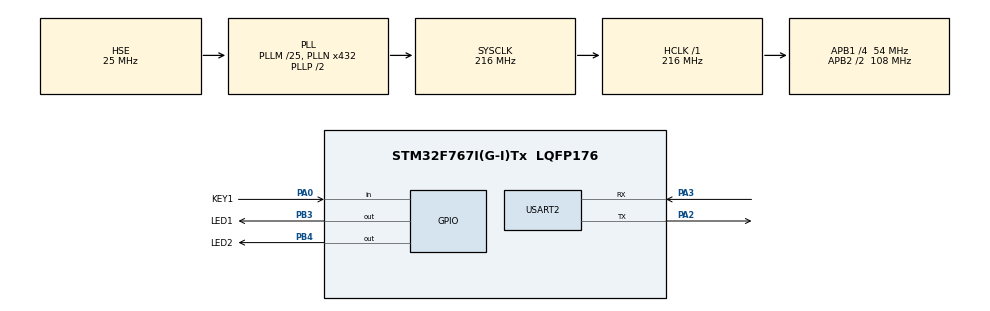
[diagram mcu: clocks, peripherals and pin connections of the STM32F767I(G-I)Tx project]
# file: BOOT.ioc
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CORTEX_M7.default_mode_Activation=0
Mcu.Family=STM32F7
Mcu.Name=STM32F767I(G-I)Tx
Mcu.Package=LQFP176
NVIC.PriorityGroup=NVIC_PRIORITYGROUP_4
NVIC.USART2_IRQn=true\:0\:0\:false\:false\:true\:true\:true\:true
PA0/WKUP.GPIO_Label=KEY1
PA0/WKUP.GPIO_PuPd=GPIO_PULLDOWN
PA0/WKUP.Signal=GPIO_Input
PA13.Mode=Serial_Wire
PA13.Signal=SYS_JTMS-SWDIO
PA14.Mode=Serial_Wire
PA14.Signal=SYS_JTCK-SWCLK
PA2.Mode=Asynchronous
PA2.Signal=USART2_TX
PA3.Mode=Asynchronous
PA3.Signal=USART2_RX
PB3.GPIO_Label=LED1
PB3.GPIO_PuPd=GPIO_NOPULL
PB3.PinState=GPIO_PIN_SET
PB3.Signal=GPIO_Output
PB4.GPIO_Label=LED2
PB4.GPIO_PuPd=GPIO_NOPULL
PB4.PinState=GPIO_PIN_SET
PB4.Signal=GPIO_Output
PH0/OSC_IN.Mode=HSE-External-Oscillator
PH0/OSC_IN.Signal=RCC_OSC_IN
PH1/OSC_OUT.Mode=HSE-External-Oscillator
PH1/OSC_OUT.Signal=RCC_OSC_OUT
ProjectManager.HeapSize=0x800
ProjectManager.StackSize=0x800
ProjectManager.TargetToolchain=CMake
RCC.AHBFreq_Value=216000000
RCC.APB1CLKDivider=RCC_HCLK_DIV4
RCC.APB1Freq_Value=54000000
RCC.APB1TimFreq_Value=108000000
RCC.APB2CLKDivider=RCC_HCLK_DIV2
RCC.APB2Freq_Value=108000000
RCC.APB2TimFreq_Value=216000000
RCC.CortexFreq_Value=216000000
RCC.HCLKFreq_Value=216000000
RCC.HSE_VALUE=25000000
RCC.HSI_VALUE=16000000
RCC.LSE_VALUE=32768
RCC.PLLM=25
RCC.PLLN=432
RCC.PLLSourceVirtual=RCC_PLLSOURCE_HSE
RCC.SYSCLKFreq_VALUE=216000000
RCC.SYSCLKSource=RCC_SYSCLKSOURCE_PLLCLK
RCC.USBFreq_Value=216000000
RCC.VCOOutputFreq_Value=432000000
USART2.VirtualMode-Asynchronous=VM_ASYNC
board=custom

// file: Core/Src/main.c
/* USER CODE BEGIN Header */
/**
  ******************************************************************************
  * @file           : main.c
  * @brief          : Main program body - Bootloader with YModem
  * @author         : YanZQ-gif
  * @date           : 2026-04-16
  * @version        : V1.1.0 - Bootloader with UPDATE command
  ******************************************************************************
  */
/* USER CODE END Header */
#include "main.h"
#include "usart.h"
#include "gpio.h"

/* USER CODE BEGIN Includes */
#include "ymodem.h"
#include "led.h"
#include "key.h"
#include "printf.h"
#include "flash.h"
#include <string.h>
/* USER CODE END Includes */

/* USER CODE BEGIN PD */

/* 升级命令 */
#define UPDATE_CMD        "UPDATE"
#define UPDATE_CMD_LEN    6
#define BOOT_WINDOW_TIME  1000    /* 1 秒窗口期 */

/* USER CODE END PD */

/* USER CODE BEGIN PV */
/* 全局变量 */
static uint8_t rx_byte;
static uint8_t tx_buffer[16];
static uint8_t tx_len;
static YMODEM_T ym_ret;
static uint8_t bIsBootloader = 0;
static uint8_t update_cmd_buffer[UPDATE_CMD_LEN];
static uint8_t update_cmd_index = 0;
/* USER CODE END PV */

void SystemClock_Config(void);

int main(void)
{

  /* MCU Configuration--------------------------------------------------------*/

  /* Reset of all peripherals, Initializes the Flash interface and the Systick. */
  HAL_Init();

  /* Configure the system clock */
  SystemClock_Config();

  /* Initialize all configured peripherals */
  MX_GPIO_Init();
  MX_USART2_UART_Init();
  /* USER CODE BEGIN 2 */

  /* 初始化 Printf 模块 */
  Printf_Init();

  /* 初始化 LED 模块 */
  LED_Init();

  /* 初始化 KEY 模块 */
  KEY_Init();

  /* 上电指示 */
  LED_Blink(LED1, 3, 100);

  printf("\r\n");
  printf("========================================\r\n");
  printf("  STM32F767 Bootloader\r\n");
  printf("  Version: V1.1.0\r\n");
  printf("========================================\r\n");
  printf("[BOOT] 系统初始化完成\r\n");
  printf("[BOOT] 等待升级指令窗口期：%dms\r\n", BOOT_WINDOW_TIME);
  printf("[BOOT] 请输入 'UPDATE' 命令进入升级模式\r\n");
  printf("========================================\r\n\r\n");

  /* 等待升级指令窗口期 */
  uint32_t window_start = HAL_GetTick();
  uint8_t cmd_received = 0;

  while ((HAL_GetTick() - window_start) < BOOT_WINDOW_TIME) {
      if (HAL_UART_Receive(&huart2, &rx_byte, 1, 10) == HAL_OK) {
          /* 接收字符并匹配命令 */
          update_cmd_buffer[update_cmd_index++] = rx_byte;

          /* 检查是否匹配 UPDATE 命令 */
          if (update_cmd_index >= UPDATE_CMD_LEN) {
              if (memcmp(update_cmd_buffer, UPDATE_CMD, UPDATE_CMD_LEN) == 0) {
                  cmd_received = 1;
                  printf("[BOOT] 收到升级命令：UPDATE\r\n");
                  break;
              }

              /* 重置索引，继续匹配 */
              update_cmd_index = 0;
          }
      }
  }

  /* 检查是否收到升级命令 */
  if (cmd_received) {
      /* 进入 Bootloader 模式 */
      bIsBootloader = 1;
      printf("[BOOT] 收到升级命令：UPDATE\r\n");
      printf("[BOOT] 持续发送 'C' 等待上位机连接...\r\n\r\n");
      LED_Blink(LED1, 5, 200);
  } else {
      /* 窗口期结束，未收到升级命令 */
      printf("[BOOT] 窗口期结束，未收到升级命令\r\n");

      /* 检查 APP 是否有效 */
      if (!BOOT_VerifyAppFirmware()) {
          printf("[BOOT] APP 验证通过，准备跳转...\r\n");
          LED_Blink(LED2, 2, 500);
          HAL_Delay(500);
          BOOT_JumpToApp();
      } else {
          printf("[BOOT] APP 无效，进入升级模式\r\n");
          bIsBootloader = 1;
          LED_Blink(LED1, 5, 200);
      }
  }

  /* USER CODE END 2 */

  /* Infinite loop */
  /* USER CODE BEGIN WHILE */
  if (bIsBootloader) {
      /* 进入 YModem 升级模式 */

      /* 初始化 YModem */
      YMODEM_Init();

      /* 持续发送 'C' 等待上位机响应 */
      uint32_t wait_start = HAL_GetTick();
      uint8_t pc_connected = 0;

      printf("[IAP] 持续发送 'C' 等待上位机连接...\r\n");

      /* 等待上位机响应，最多等待 10 秒 */
      while ((HAL_GetTick() - wait_start) < 10000) {
          /* 持续发送 'C' */
          HAL_UART_Transmit(&huart2, (uint8_t*)"C", 1, 100);
          HAL_Delay(100);  /* 每 100ms 发送一次 */

          /* 检查是否收到上位机响应 */
          if (HAL_UART_Receive(&huart2, &rx_byte, 1, 10) == HAL_OK) {
              /* 收到数据，说明上位机已连接 */
              pc_connected = 1;
              printf("[IAP] 上位机已连接，开始升级...\r\n\r\n");
              break;
          }
      }

      if (!pc_connected) {
          printf("[IAP] 等待超时，未检测到上位机\r\n");
          printf("[IAP] 系统将在 2 秒后重启...\r\n");
          HAL_Delay(2000);
          NVIC_SystemReset();
      }

      /* 主循环 - 接收 YModem 数据 */
      while (1) {
          /* 等待 UART 数据 */
          if (HAL_UART_Receive(&huart2, &rx_byte, 1, 100) == HAL_OK) {
              /* 处理接收到的字节 */
              ym_ret = YMODEM_ReceiveByte(rx_byte, tx_buffer, &tx_len);

              switch (ym_ret) {
                  case YMODEM_OK:
                      /* 继续接收 */
                      break;

                  case YMODEM_TX_PENDING:
                      /* 需要发送响应 */
                      if (tx_len > 0) {
                          HAL_UART_Transmit(&huart2, tx_buffer, tx_len, 1000);
                      }
                      break;

                  case YMODEM_COMPLETE:
                      /* 升级完成 */
                      printf("\r\n");
                      printf("========================================\r\n");
                      printf("  [IAP] ✓ 固件升级完成！\r\n");
                      printf("  [IAP] 系统将在 2 秒后重启...\r\n");
                      printf("========================================\r\n");

                      /* 设置启动标志 */
                      BOOT_SetFlag(BOOT_FLAG_APP);

                      /* 延时后重启 */
                      HAL_Delay(2000);
                      NVIC_SystemReset();
                      break;

                  case YMODEM_ABORTED:
                      /* 升级被取消 */
                      printf("\r\n[IAP] ⚠ 升级被取消\r\n");
                      break;

                  case YMODEM_WRITE_ERR:
                      /* Flash 写入错误 */
                      printf("\r\n[IAP] ❌ Flash 写入错误！\r\n");
                      break;

                  case YMODEM_SIZE_ERR:
                      /* 文件过大 */
                      printf("\r\n[IAP] ❌ 固件文件过大！\r\n");
                      break;

                  default:
                      break;
              }
          }
      }
  }

  while (1)
  {
      /* 正常情况下不会到这里 */
      LED_Blink(LED1, 1, 1000);  // 错误指示
  }
    /* USER CODE END WHILE */

}

void SystemClock_Config(void)
{
  RCC_OscInitTypeDef RCC_OscInitStruct = {0};
  RCC_ClkInitTypeDef RCC_ClkInitStruct = {0};

  /** Configure the main internal regulator output voltage
  */
  __HAL_RCC_PWR_CLK_ENABLE();
  __HAL_PWR_VOLTAGESCALING_CONFIG(PWR_REGULATOR_VOLTAGE_SCALE1);

  /** Initializes the RCC Oscillators according to the specified parameters
  * in the RCC_OscInitTypeDef structure.
  */
  RCC_OscInitStruct.OscillatorType = RCC_OSCILLATORTYPE_HSE;
  RCC_OscInitStruct.HSEState = RCC_HSE_ON;
  RCC_OscInitStruct.PLL.PLLState = RCC_PLL_ON;
  RCC_OscInitStruct.PLL.PLLSource = RCC_PLLSOURCE_HSE;
  RCC_OscInitStruct.PLL.PLLM = 25;
  RCC_OscInitStruct.PLL.PLLN = 432;
  RCC_OscInitStruct.PLL.PLLP = RCC_PLLP_DIV2;
  RCC_OscInitStruct.PLL.PLLQ = 2;
  RCC_OscInitStruct.PLL.PLLR = 2;
  if (HAL_RCC_OscConfig(&RCC_OscInitStruct) != HAL_OK)
  {
    Error_Handler();
  }

  /** Activate the Over-Drive mode
  */
  if (HAL_PWREx_EnableOverDrive() != HAL_OK)
  {
    Error_Handler();
  }

  /** Initializes the CPU, AHB and APB buses clocks
  */
  RCC_ClkInitStruct.ClockType = RCC_CLOCKTYPE_HCLK|RCC_CLOCKTYPE_SYSCLK
                              |RCC_CLOCKTYPE_PCLK1|RCC_CLOCKTYPE_PCLK2;
  RCC_ClkInitStruct.SYSCLKSource = RCC_SYSCLKSOURCE_PLLCLK;
  RCC_ClkInitStruct.AHBCLKDivider = RCC_SYSCLK_DIV1;
  RCC_ClkInitStruct.APB1CLKDivider = RCC_HCLK_DIV4;
  RCC_ClkInitStruct.APB2CLKDivider = RCC_HCLK_DIV2;

  if (HAL_RCC_ClockConfig(&RCC_ClkInitStruct, FLASH_LATENCY_7) != HAL_OK)
  {
    Error_Handler();
  }
}

void Error_Handler(void)
{
  /* USER CODE BEGIN Error_Handler_Debug */
  /* User can add his own implementation to report the HAL error return state */
  __disable_irq();
  while (1)
  {
      /* 错误时快速闪烁 */
      LED_Blink(LED1, 1, 50);
  }
  /* USER CODE END Error_Handler_Debug */
}
#ifdef USE_FULL_ASSERT
/**
  * @brief  Reports the name of the source file and the source line number
  *         where the assert_param error has occurred.
  * @param  file: pointer to the source file name
  * @param  line: assert_param error line source number
  * @retval None
  */
void assert_failed(uint8_t *file, uint32_t line)
{
  /* USER CODE BEGIN 6 */
  /* User can add his own implementation to report the file name and line number,
     ex: printf("Wrong parameters value: file %s on line %d\r\n", file, line) */
  printf("Wrong parameters value: file %s on line %d\r\n", file, line);
  /* USER CODE END 6 */
}
#endif /* USE_FULL_ASSERT */
